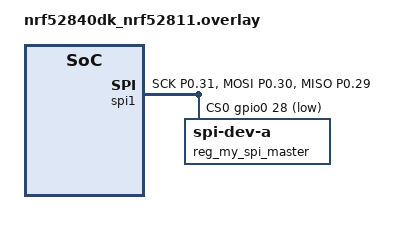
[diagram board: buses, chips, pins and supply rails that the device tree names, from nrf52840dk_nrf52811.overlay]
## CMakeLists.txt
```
# SPDX-License-Identifier: Apache-2.0

cmake_minimum_required(VERSION 3.20.0)
find_package(Zephyr REQUIRED HINTS $ENV{ZEPHYR_BASE})
project(observer)

target_sources(app PRIVATE
  src/main.c
  src/observer.c
  src/lib/mylib/isc_msgs.c
)
zephyr_include_directories(src/lib/mylib)
```

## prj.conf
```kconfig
CONFIG_BT=y
CONFIG_BT_OBSERVER=y
CONFIG_BT_EXT_ADV=y

CONFIG_GPIO=y
CONFIG_SPI=y
CONFIG_SPI_ASYNC=y

CONFIG_SPI_SLAVE=y
```

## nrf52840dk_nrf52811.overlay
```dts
// To get started, press Ctrl+Space to bring up the completion menu and view the available nodes.

// You can also use the buttons in the sidebar to perform actions on nodes.
// Actions currently available include:

// * Enabling / disabling the node
// * Adding the bus to a bus
// * Removing the node
// * Connecting ADC channels

// For more help, browse the DeviceTree documentation at https://docs.zephyrproject.org/latest/guides/dts/index.html
// You can also visit the nRF DeviceTree extension documentation at https://nrfconnect.github.io/vscode-nrf-connect/devicetree/nrfdevicetree.html
&pinctrl {
	spi1_default: spi1_default {
		group1 {
			psels = <NRF_PSEL(SPIM_SCK, 0, 31)>,
					<NRF_PSEL(SPIM_MOSI, 0, 30)>,
					<NRF_PSEL(SPIM_MISO, 0, 29)>;
		};
	};

	spi1_sleep: spi1_sleep {
		group1 {
			psels = <NRF_PSEL(SPIM_SCK, 0, 31)>,
					<NRF_PSEL(SPIM_MOSI, 0, 30)>,
					<NRF_PSEL(SPIM_MISO, 0, 29)>;
			low-power-enable;
		};
	};

	// spi2_default: spi2_default {
	// 	group1 {
	// 		psels = <NRF_PSEL(SPIS_SCK, 1, 1)>,
	// 				<NRF_PSEL(SPIS_MOSI, 1, 2)>,
	// 				<NRF_PSEL(SPIS_MISO, 1, 3)>,
	// 				<NRF_PSEL(SPIS_CSN, 1, 4)>;
	// 	};
	// };

	// spi2_sleep: spi2_sleep {
	// 	group1 {
	// 		psels = <NRF_PSEL(SPIS_SCK, 1, 1)>,
	// 				<NRF_PSEL(SPIS_MOSI, 1, 2)>,
	// 				<NRF_PSEL(SPIS_MISO, 1, 3)>,
	// 				<NRF_PSEL(SPIS_CSN, 1, 4)>;
	// 		low-power-enable;
	// 	};
	// };
};

my_spi_master: &spi1 {
	compatible = "nordic,nrf-spi";
	status = "okay";
	pinctrl-0 = <&spi1_default>;
	pinctrl-1 = <&spi1_sleep>;
	cs-gpios = <&gpio0 28 GPIO_ACTIVE_LOW>;
	reg_my_spi_master: spi-dev-a@0 {
		reg = <0>;
	};
};

// my_spi_slave: &spi2 {
// 	compatible = "nordic,nrf-spis";
// 	status = "okay";
// 	pinctrl-0 = <&spi2_default>;
// 	pinctrl-1 = <&spi2_sleep>;
// 	def-char = <0x00>;
// };
```

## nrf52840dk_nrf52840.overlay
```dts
// To get started, press Ctrl+Space to bring up the completion menu and view the available nodes.

// You can also use the buttons in the sidebar to perform actions on nodes.
// Actions currently available include:

// * Enabling / disabling the node
// * Adding the bus to a bus
// * Removing the node
// * Connecting ADC channels

// For more help, browse the DeviceTree documentation at https://docs.zephyrproject.org/latest/guides/dts/index.html
// You can also visit the nRF DeviceTree extension documentation at https://nrfconnect.github.io/vscode-nrf-connect/devicetree/nrfdevicetree.html
&pinctrl {
	spi1_default: spi1_default {
		group1 {
			psels = <NRF_PSEL(SPIM_SCK, 0, 31)>,
					<NRF_PSEL(SPIM_MOSI, 0, 30)>,
					<NRF_PSEL(SPIM_MISO, 0, 29)>;
		};
	};

	spi1_sleep: spi1_sleep {
		group1 {
			psels = <NRF_PSEL(SPIM_SCK, 0, 31)>,
					<NRF_PSEL(SPIM_MOSI, 0, 30)>,
					<NRF_PSEL(SPIM_MISO, 0, 29)>;
			low-power-enable;
		};
	};

	spi2_default: spi2_default {
		group1 {
			psels = <NRF_PSEL(SPIS_SCK, 1, 1)>,
					<NRF_PSEL(SPIS_MOSI, 1, 2)>,
					<NRF_PSEL(SPIS_MISO, 1, 3)>,
					<NRF_PSEL(SPIS_CSN, 1, 4)>;
		};
	};

	spi2_sleep: spi2_sleep {
		group1 {
			psels = <NRF_PSEL(SPIS_SCK, 1, 1)>,
					<NRF_PSEL(SPIS_MOSI, 1, 2)>,
					<NRF_PSEL(SPIS_MISO, 1, 3)>,
					<NRF_PSEL(SPIS_CSN, 1, 4)>;
			low-power-enable;
		};
	};
};

my_spi_master: &spi1 {
	compatible = "nordic,nrf-spi";
	status = "okay";
	pinctrl-0 = <&spi1_default>;
	pinctrl-1 = <&spi1_sleep>;
	cs-gpios = <&gpio0 28 GPIO_ACTIVE_LOW>;
	reg_my_spi_master: spi-dev-a@0 {
		reg = <0>;
	};
};

my_spi_slave: &spi2 {
	compatible = "nordic,nrf-spis";
	status = "okay";
	pinctrl-0 = <&spi2_default>;
	pinctrl-1 = <&spi2_sleep>;
	def-char = <0x00>;
};
```

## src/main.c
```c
/*
 * Copyright (c) 2022 Nordic Semiconductor ASA
 *
 * SPDX-License-Identifier: Apache-2.0
 */

#include <zephyr/sys/printk.h>
#include <zephyr/bluetooth/bluetooth.h>
#include <zephyr.h>
#include <device.h>
#include <devicetree.h>
#include <drivers/gpio.h>
#include <drivers/spi.h>
#include "isc_msgs.h"
#include <hal/nrf_gpio.h>

/* Set DEBUG_ENABLE to see all debug messages*/
#define DEBUG_ENABLE	0

/* 1000 msec = 1 sec */
#define SLEEP_TIME_MS   10000

// GPIO Control Pins for the EPSON speech IC
#define H_RESET_PIN		NRF_GPIO_PIN_MAP(0, 14)
#define H_MUTE_PIN		NRF_GPIO_PIN_MAP(0, 15)
#define H_STBEXT_PIN	NRF_GPIO_PIN_MAP(0, 16)

#define MY_SPI_MASTER DT_NODELABEL(my_spi_master)

// SPI master functionality
const struct device *spi_dev;
static struct k_poll_signal spi_done_sig = K_POLL_SIGNAL_INITIALIZER(spi_done_sig);

struct spi_cs_control spim_cs = {
	.gpio = SPI_CS_GPIOS_DT_SPEC_GET(DT_NODELABEL(reg_my_spi_master)),
	.delay = 0,
};

uint8_t tx_buffer[70];		/* Note: Transmit buffer size should be large enough to send the entire SPI message. SPI message length increases with the number of phrases to be played. Each new phrase will approximately add 8 bytes to the total message length.*/
uint8_t rx_buffer[16];

const struct spi_buf tx_buf = {
	.buf = tx_buffer,
	.len = sizeof(tx_buffer)
};
const struct spi_buf_set tx = {
	.buffers = &tx_buf,
	.count = 1
};

struct spi_buf rx_buf = {
	.buf = rx_buffer,
	.len = sizeof(rx_buffer),
};
const struct spi_buf_set rx = {
	.buffers = &rx_buf,
	.count = 1
};

void printBuffer(uint8_t buffer[], int len)
{
  for(int i=0; i < len; i++) {
      printk("0x%.2x ", buffer[i]);
  }
  printf("\r\n");
}

///////////////////////////////////////////////////////////////////////
//  function: GPIO_ControlStandby
//
//  description:
//    STAND-BY control for Device STBY(Stand-by) High/Low control
//
//  argument:
//    iValue    Signal value High:1  Low:0
///////////////////////////////////////////////////////////////////////
void GPIO_ControlStandby(int iValue)
{
  if (iValue==1)
  {
    // Write 1 to P0.16 - H_STBEXIT pin
	nrf_gpio_pin_set(H_STBEXT_PIN);
  }
  else
  {
    // Write 0 to P0.16 - H_STBEXIT pin
	nrf_gpio_pin_clear(H_STBEXT_PIN);
  }
}

///////////////////////////////////////////////////////////////////////
//  function: GPIO_ControlMute
//
//  description:
//    MUTE control for Device MUTE control
//
//  argument:
//    iValue    Signal value Mute  enable:1  disable:0
///////////////////////////////////////////////////////////////////////
void GPIO_ControlMute(int iValue)
{
  if (iValue)
  {
    // Write 1 to P0.15 - H_MUTE pin
	nrf_gpio_pin_set(H_MUTE_PIN);
  }
  else
  {
    // Write 0 to P0.15 - H_MUTE pin
	nrf_gpio_pin_clear(H_MUTE_PIN);
  }
}

///////////////////////////////////////////////////////////////////////
//  function: GPIO_S1V3G340_Reset
//
//  description:
//    RESET control for Device reset control
//
//  argument:
//    iValue    Signal value High:1  Low:0
///////////////////////////////////////////////////////////////////////
void GPIO_S1V3G340_Reset(int iValue)
{
  if (iValue)
  {
    // Write 1 to P0.14 - H_RESET pin
	nrf_gpio_pin_set(H_RESET_PIN);
  }
  else
  {
    // Write 0 to P0.14 - H_RESET pin
	nrf_gpio_pin_clear(H_RESET_PIN);
  }
}

///////////////////////////////////////////////////////////////////////
//  function: updateTxBuffer
//
//  description:
//    Loads the transmit buffer with the message to be sent via SPI
//
//  argument:
//    msgBuf: SPI message to be sent to the speech IC
//	  len: length of the message to be transmitted 
///////////////////////////////////////////////////////////////////////
static void updateTxBuffer(unsigned char msgBuf[], int len) 
{
	size_t i = 0;
	for (i = 0; i < len; i++)
	{
		tx_buffer[i] = msgBuf[i];
	}
	//clearing rest of the buffer
	for (size_t j = i; j < sizeof(tx_buffer); j++)
	{
		tx_buffer[j] = 0;
	}
}

static void spi_init(void)
{
	spi_dev = DEVICE_DT_GET(MY_SPI_MASTER);
	if(!device_is_ready(spi_dev)) {
		if(DEBUG_ENABLE) printk("SPI master device not ready!\n");
	}
	if(!device_is_ready(spim_cs.gpio.port)){
		if(DEBUG_ENABLE) printk("SPI master chip select device not ready!\n");
	}
}

static const struct spi_config spi_cfg = {
	.operation = SPI_WORD_SET(8) | SPI_TRANSFER_MSB |
				 SPI_MODE_CPOL | SPI_MODE_CPHA,
	.frequency = 1000000,
	.slave = 0,
	.cs = &spim_cs,
};

/*
Note: Phrase numbers stored on the speech IC to play the audio "Reached control 1 in 1 hour 15 minutes":
	PS_0203 - (0x00CB - 1) = 0x00CA (Reached control)
	PS_0143 - (0x008F - 1) = 0x008E (1)
	PS_0204 - (0x00CC - 1) = 0x00CB (in)
	PS_0001 - (0x0001 - 1) = 0x0000 (1 hour)
	PS_0039 - (0x0027 - 1) = 0x0026 (15 minutes)
*/
/*iscSequencerConfigReq acts as a format placeholder to play phrases in sequence. To dynamically play specific audio phrases, the "file event" structure should be modified.*/
unsigned char iscSequencerConfigReq[] = {
		0x00, 0xAA, 0x30, 0x00, 0xC4, 0x00, 0x01, 0x00, 0x05, 0x00,
		// file event PS_0203 - "Reached control"
		0x00, 0x00, 0x01, 0x00, 0x03, 0x00, 0xCA, 0x00,
		// file event - station number
		0x00, 0x00, 0x01, 0x00, 0x03, 0x00, 0x8E, 0x00,
		// file event PS_0204 - "in"
		0x00, 0x00, 0x01, 0x00, 0x03, 0x00, 0xCB, 0x00,
		// file event - hours
		0x00, 0x00, 0x01, 0x00, 0x03, 0x00, 0x00, 0x00,
		// file event - minutes
		0x00, 0x00, 0x01, 0x00, 0x03, 0x00, 0x26, 0x00,
		// padding data to skip ISC_SEQUENCER_CONFIG_RESP.
		//0x00, 0x00, 0x00, 0x00, 0x00, 0x00, 0x00, 0x00, 0x00,
	};

bool msgHasHours = false;

/*iscSequencerConfigReqWithoutHours acts as a format placeholder to play announcements without hours. For eg, "Reached control 1 in 30 minutes."*/
unsigned char iscSequencerConfigReqWithoutHours[] = {
		0x00, 0xAA, 0x28, 0x00, 0xC4, 0x00, 0x01, 0x00, 0x04, 0x00,
		// file event PS_0203 - "Reached control"
		0x00, 0x00, 0x01, 0x00, 0x03, 0x00, 0xCA, 0x00,
		// file event - station number
		0x00, 0x00, 0x01, 0x00, 0x03, 0x00, 0x8E, 0x00,
		// file event PS_0204 - "in"
		0x00, 0x00, 0x01, 0x00, 0x03, 0x00, 0xCB, 0x00,
		// file event - minutes
		0x00, 0x00, 0x01, 0x00, 0x03, 0x00, 0x26, 0x00,
	};

///////////////////////////////////////////////////////////////////////
//  function: createIscSequencerConfigReq
//
//  description:
//    Function to parse the incoming BLE data from SIAC and get the 
// 	  control number, hours and minutes data from it and update the 
// 	  iscSequencerConfigReq or iscSequencerConfigReqWithoutHours
//
//  argument:
//    siac_data: Data recieved from SIAC via BLE. This function is 
//    called from the observer.c file
///////////////////////////////////////////////////////////////////////
void createIscSequencerConfigReq(char siac_data[]) {
	
	uint8_t controlNumber = 0, hours = 0, minutes = 0;
	for (int i = 0; i < strlen(siac_data); i++)
	{
		if (siac_data[i] == 0x07)
		{
			/* Parse SIAC data */
			controlNumber = siac_data[i+1];
			hours = siac_data[i+2];
			minutes = siac_data[i+3];
		}
	}
	if(DEBUG_ENABLE) printk("control no: %d, hours: %d, minutes: %d\n", controlNumber, hours, minutes);

	uint8_t hoursMsgCode = hours - 1;
	uint8_t minutesMsgcode = (minutes + 24) - 1;
	uint8_t controlMsgCode = (controlNumber + 142) - 1;
	if(DEBUG_ENABLE) printk("control code: 0x%.2x, hours code: 0x%.2x, minutes code: 0x%.2x\n", controlMsgCode, hoursMsgCode, minutesMsgcode);

	if (hours == 0)
	{
		msgHasHours = false;
		iscSequencerConfigReqWithoutHours[24] = controlMsgCode;
		iscSequencerConfigReqWithoutHours[40] = minutesMsgcode;
	} else {
		msgHasHours = true;
		iscSequencerConfigReq[24] = controlMsgCode;
		iscSequencerConfigReq[40] = hoursMsgCode;
		iscSequencerConfigReq[48] = minutesMsgcode;
	}
}

int S1V3G340_Initialize_Audio_Config(void) {

	/***************************Reset speech IC***************************/
	// send ISC_RESET_REQ
	updateTxBuffer(aucIscResetReq, iIscResetReqLen);
	if(DEBUG_ENABLE) printBuffer(tx_buffer, iIscResetReqLen);
	// Reset signal
	k_poll_signal_reset(&spi_done_sig);
	// Start transaction
	int error = spi_transceive_async(spi_dev, &spi_cfg, &tx, &rx, &spi_done_sig);
	if(error != 0){
		if(DEBUG_ENABLE) printk("SPI transceive error: %i\n", error);
		return error;
	}
	// Wait for the done signal to be raised and log the rx buffer
	int spi_signaled, spi_result;
	do{
		k_poll_signal_check(&spi_done_sig, &spi_signaled, &spi_result);
	} while(spi_signaled == 0);
	if(DEBUG_ENABLE) printBuffer(rx_buffer, LEN_ISC_RESET_RESP);

	/***************************Registry key-code***************************/
	// send ISC_TEST_REQ
	updateTxBuffer(aucIscTestReq, iIscTestReqLen);
	if(DEBUG_ENABLE) printBuffer(tx_buffer, iIscTestReqLen);

	error = spi_transceive_async(spi_dev, &spi_cfg, &tx, &rx, &spi_done_sig);
	if(error != 0){
		if(DEBUG_ENABLE) printk("SPI transceive error: %i\n", error);
		return error;
	}
	do{
		k_poll_signal_check(&spi_done_sig, &spi_signaled, &spi_result);
	} while(spi_signaled == 0);
	if(DEBUG_ENABLE) printBuffer(rx_buffer, LEN_ISC_TEST_RESP);

	/***************************Get version info.***************************/
	// send ISC_VERSION_REQ	
	updateTxBuffer(aucIscVersionReq, iIscVersionReqLen);
	if(DEBUG_ENABLE) printBuffer(tx_buffer, iIscVersionReqLen);

	error = spi_transceive_async(spi_dev, &spi_cfg, &tx, &rx, &spi_done_sig);
	if(error != 0){
		if(DEBUG_ENABLE) printk("SPI transceive error: %i\n", error);
		return error;
	}
	do{
		k_poll_signal_check(&spi_done_sig, &spi_signaled, &spi_result);
	} while(spi_signaled == 0);
	if(DEBUG_ENABLE) printBuffer(rx_buffer, LEN_ISC_VERSION_RESP);

	/***********************Set volume & sampling freq.***********************/
	// send ISC_AUDIO_CONFIG_REQ
	updateTxBuffer(aucIscAudioConfigReq, iIscAudioConfigReqLen);
	if(DEBUG_ENABLE) printBuffer(tx_buffer, iIscAudioConfigReqLen);

	error = spi_transceive_async(spi_dev, &spi_cfg, &tx, &rx, &spi_done_sig);
	if(error != 0){
		if(DEBUG_ENABLE) printk("SPI transceive error: %i\n", error);
		return error;
	}
	do{
		k_poll_signal_check(&spi_done_sig, &spi_signaled, &spi_result);
	} while(spi_signaled == 0);
	if(DEBUG_ENABLE) printBuffer(rx_buffer, LEN_ISC_AUDIO_CONFIG_RESP);

	if(DEBUG_ENABLE) printk("Initialization complete!!!\n");

	return 0;
}

int S1V3G340_Play_Specific_Audio(char siac_data[]) {

	if(DEBUG_ENABLE) printk("Playing audio!!!\n");
	
	/***************************Sequencer configuration***************************/
	// send ISC_SEQUENCER_CONFIG_REQ
	createIscSequencerConfigReq(siac_data);
	if (msgHasHours)
	{
		updateTxBuffer(iscSequencerConfigReq, sizeof(iscSequencerConfigReq));
		if(DEBUG_ENABLE) printBuffer(tx_buffer, sizeof(iscSequencerConfigReq));
	} else {
		updateTxBuffer(iscSequencerConfigReqWithoutHours, sizeof(iscSequencerConfigReqWithoutHours));
		if(DEBUG_ENABLE) printBuffer(tx_buffer, sizeof(iscSequencerConfigReqWithoutHours));
	}

	// Start SPI transaction
	int error = spi_transceive_async(spi_dev, &spi_cfg, &tx, &rx, &spi_done_sig);
	if(error != 0){
		if(DEBUG_ENABLE) printk("SPI transceive error: %i\n", error);
		return error;
	}
	int spi_signaled, spi_result;
	do{
		k_poll_signal_check(&spi_done_sig, &spi_signaled, &spi_result);
	} while(spi_signaled == 0);
	if(DEBUG_ENABLE) printBuffer(rx_buffer, LEN_ISC_SEQUENCER_CONFIG_RESP);

	/***************************Start sequencer playback***************************/
	aucIscSequencerStartReq[6] = 0;		// set notify status ind
	// send ISC_SEQUENCER_START_REQ
  	updateTxBuffer(aucIscSequencerStartReq, iIscSequencerStartReqLen);
	if(DEBUG_ENABLE) printBuffer(tx_buffer, iIscSequencerStartReqLen);

	error = spi_transceive_async(spi_dev, &spi_cfg, &tx, &rx, &spi_done_sig);
	if(error != 0){
		if(DEBUG_ENABLE) printk("SPI transceive error: %i\n", error);
		return error;
	}
	do{
		k_poll_signal_check(&spi_done_sig, &spi_signaled, &spi_result);
	} while(spi_signaled == 0);
	if(DEBUG_ENABLE) printBuffer(rx_buffer, LEN_ISC_SEQUENCER_START_RESP);

	return 0;
}

int spi_write_test_msg(char siac_data[])
{
	S1V3G340_Initialize_Audio_Config();
	S1V3G340_Play_Specific_Audio(siac_data);
	return 0;
}

int observer_start(void);

void main(void)
{
	int err;
	printk("Starting SI Voice Audio device\n");

	//EPSON S1V3G340 Control pins config
	nrf_gpio_cfg_output(H_RESET_PIN);
	nrf_gpio_cfg_output(H_MUTE_PIN);
	nrf_gpio_cfg_output(H_STBEXT_PIN);

	GPIO_S1V3G340_Reset(0);
	GPIO_ControlStandby(0);		// Set stanby signal(STBYEXIT) to Low(deassert)
	GPIO_ControlMute(0);        // Set mute signal(MUTE) to Low(enable)
	GPIO_S1V3G340_Reset(1);
	GPIO_ControlMute(1);        // Set mute signal(MUTE) to High(disable)
	k_msleep(120);    			// To ensure wait for "t1" as 120msec.

	spi_init();

	/* Initialize the Bluetooth Subsystem */
	err = bt_enable(NULL);
	if (err) {
		if(DEBUG_ENABLE) printk("Bluetooth init failed (err %d)\n", err);
		return;
	}

	(void)observer_start();

	if(DEBUG_ENABLE) printk("Exiting %s thread.\n", __func__);

	while (1) {
		k_msleep(SLEEP_TIME_MS);
	}
}
```

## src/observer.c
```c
/*
 * Copyright (c) 2022 Nordic Semiconductor ASA
 * Copyright (c) 2015-2016 Intel Corporation
 *
 * SPDX-License-Identifier: Apache-2.0
 */

#include <zephyr/sys/printk.h>
#include <zephyr/bluetooth/bluetooth.h>
#include <zephyr/bluetooth/hci.h>

/* Set DEBUG_ENABLE to see all debug messages*/
#define DEBUG_ENABLE	0

#define NAME_LEN 30

static void device_found(const bt_addr_le_t *addr, int8_t rssi, uint8_t type,
			 struct net_buf_simple *ad)
{
	char addr_str[BT_ADDR_LE_STR_LEN];

	bt_addr_le_to_str(addr, addr_str, sizeof(addr_str));
}

#if defined(CONFIG_BT_EXT_ADV)
static bool data_cb(struct bt_data *data, void *user_data)
{
	char *name = user_data;
	uint8_t len;

	switch (data->type) {
	case BT_DATA_NAME_SHORTENED:
	case BT_DATA_NAME_COMPLETE:
		len = MIN(data->data_len, NAME_LEN - 1);
		(void)memcpy(name, data->data, len);
		name[len] = '\0';
		if(DEBUG_ENABLE) printk("BLE Dev Name: %s\n", name);
		return false;
	case BT_DATA_MANUFACTURER_DATA:
		len = MIN(data->data_len, NAME_LEN - 1);
		(void)memcpy(name, data->data, len);
		name[len] = '\0';
		if(DEBUG_ENABLE) {
			printk("Manufacturer Specific Data: ");
			for (int i = 0; i < len; i++)
			{
				printk(" %.2x ", name[i]);
			}
			printk("\n");
		}
	case BT_DATA_URI:
		len = MIN(data->data_len, NAME_LEN - 1);
		(void)memcpy(name, data->data, len);
		name[len] = '\0';
		if(DEBUG_ENABLE) printk("BLE URI: %s\n", name);
		return false;
	default:
		return true;
	}
}

static const char *phy2str(uint8_t phy)
{
	switch (phy) {
	case BT_GAP_LE_PHY_NONE: return "No packets";
	case BT_GAP_LE_PHY_1M: return "LE 1M";
	case BT_GAP_LE_PHY_2M: return "LE 2M";
	case BT_GAP_LE_PHY_CODED: return "LE Coded";
	default: return "Unknown";
	}
}

static void scan_recv(const struct bt_le_scan_recv_info *info,
		      struct net_buf_simple *buf)
{
	char le_addr[BT_ADDR_LE_STR_LEN];
	char name[NAME_LEN];
	uint8_t data_status;
	uint16_t data_len;
	
	// Unique device identifier
	char * sportident_dev_id0 = "SI Beacon";
	char * sportident_dev_id1 = "SI";

	(void)memset(name, 0, sizeof(name));

	data_len = buf->len;
	char scan_data[100];
	(void)memset(scan_data, 0, sizeof(scan_data));
	memcpy(scan_data, buf->data, data_len);
	
	bt_data_parse(buf, data_cb, name);

	data_status = BT_HCI_LE_ADV_EVT_TYPE_DATA_STATUS(info->adv_props);

	bt_addr_le_to_str(info->addr, le_addr, sizeof(le_addr));

	if (info->adv_type == 2)
	{
		// Print raw data
		if(DEBUG_ENABLE) {
			printk("Scan Data: ");
			for (int i = 0; i < data_len; i++)
			{
				printk(" %.2x ", scan_data[i]);
			}
			printk("\r\n");
			printk("[TYPE 2 DEVICE]: %s, AD evt type %u, Tx Pwr: %i, RSSI %i "
					"Data status: %u, AD data len: %u Name: %s "
					"C:%u S:%u D:%u SR:%u E:%u Pri PHY: %s, Sec PHY: %s, "
					"Interval: 0x%04x (%u ms), SID: %u\r\n",
					le_addr, info->adv_type, info->tx_power, info->rssi,
					data_status, data_len, name,
					(info->adv_props & BT_GAP_ADV_PROP_CONNECTABLE) != 0,
					(info->adv_props & BT_GAP_ADV_PROP_SCANNABLE) != 0,
					(info->adv_props & BT_GAP_ADV_PROP_DIRECTED) != 0,
					(info->adv_props & BT_GAP_ADV_PROP_SCAN_RESPONSE) != 0,
					(info->adv_props & BT_GAP_ADV_PROP_EXT_ADV) != 0,
					phy2str(info->primary_phy), phy2str(info->secondary_phy),
					info->interval, info->interval * 5 / 4, info->sid);
		}
		if ((scan_data[0] == 0x02 && scan_data[1] == 0x01 && scan_data[2] == 0x04) || 
				(strstr(name, sportident_dev_id0) != NULL || strstr(name, sportident_dev_id1) != NULL))
		{
			if(DEBUG_ENABLE) {
				printk("SPORTident Device Found!!!\n");
				printk("Scanned Data: ");
				for (int i = 0; i < data_len; i++)
				{
					printk(" %.2x ", scan_data[i]);
				}
				printk("\n");
			}

			if (scan_data[6] == 0xFF) {
				/* Parse Manufacturer specific data */
				char siac_data[] = {
					scan_data[7], scan_data[8], scan_data[9], scan_data[10], 
					scan_data[11], scan_data[12], scan_data[13]
					};
				if(DEBUG_ENABLE) {
					printk("SIAC Data: ");
					for (int i = 0; i < 7; i++)
					{
						printk(" %.2x ", siac_data[i]);
					}
					printk("\n");
				}
				spi_write_test_msg(siac_data);
			}

			if(DEBUG_ENABLE) printk("[SI DEVICE]: %s, AD evt type %u, Tx Pwr: %i, RSSI %i "
				"Data status: %u, AD data len: %u Name: %s "
				"C:%u S:%u D:%u SR:%u E:%u Pri PHY: %s, Sec PHY: %s, "
				"Interval: 0x%04x (%u ms), SID: %u\r\n",
				le_addr, info->adv_type, info->tx_power, info->rssi,
				data_status, data_len, name,
				(info->adv_props & BT_GAP_ADV_PROP_CONNECTABLE) != 0,
				(info->adv_props & BT_GAP_ADV_PROP_SCANNABLE) != 0,
				(info->adv_props & BT_GAP_ADV_PROP_DIRECTED) != 0,
				(info->adv_props & BT_GAP_ADV_PROP_SCAN_RESPONSE) != 0,
				(info->adv_props & BT_GAP_ADV_PROP_EXT_ADV) != 0,
				phy2str(info->primary_phy), phy2str(info->secondary_phy),
				info->interval, info->interval * 5 / 4, info->sid);
		}
	}
}

static struct bt_le_scan_cb scan_callbacks = {
	.recv = scan_recv,
};
#endif /* CONFIG_BT_EXT_ADV */

int observer_start(void)
{
	struct bt_le_scan_param scan_param = {
		.type       = BT_LE_SCAN_TYPE_PASSIVE,
		.options    = BT_LE_SCAN_OPT_FILTER_DUPLICATE,
		.interval   = BT_GAP_SCAN_FAST_INTERVAL,
		.window     = BT_GAP_SCAN_FAST_WINDOW,
	};
	int err;

#if defined(CONFIG_BT_EXT_ADV)
	bt_le_scan_cb_register(&scan_callbacks);
	if(DEBUG_ENABLE) printk("Registered scan callbacks\n");
#endif /* CONFIG_BT_EXT_ADV */

	err = bt_le_scan_start(&scan_param, device_found);
	if (err) {
		if(DEBUG_ENABLE) printk("Start scanning failed (err %d)\n", err);
		return err;
	}
	if(DEBUG_ENABLE) printk("Started scanning...\n");

	return 0;
}
```
